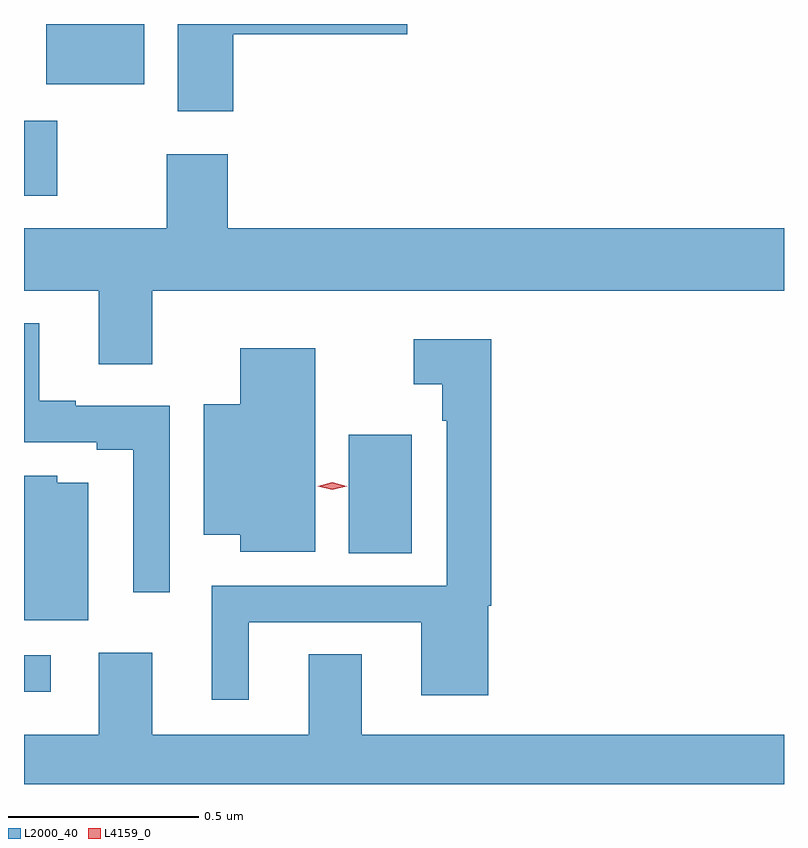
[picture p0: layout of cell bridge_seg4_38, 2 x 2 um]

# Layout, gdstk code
import gdstk
lib = gdstk.Library(unit=1e-6, precision=1e-09)
def R(c, l, rs):  # rectangles x0, y0, x1, y1
    for r in rs: c.add(gdstk.rectangle(r[:2], r[2:], *l))
def P(c, l, *ps):  # polygons
    for p in ps: c.add(gdstk.Polygon(p, *l))
L2000_40 = (2000, 40)
L4159_0 = (4159, 0)

bridge_seg4_38 = lib.new_cell('bridge_seg4_38')
R(bridge_seg4_38, L2000_40, [(682.65,750.477,682.72,750.573), (683.504,750.841,683.671,751.153), (682.65,751.782,682.737,751.98), (682.709,752.075,682.966,752.234)])
P(bridge_seg4_38, L2000_40, [(683.201,752.207),(683.659,752.207),(683.659,752.234),(683.054,752.234),(683.054,752.004),(683.201,752.004)],
  [(682.987,751.532),(684.65,751.532),(684.65,751.696),(683.186,751.696),(683.186,751.891),(683.026,751.891),(683.026,751.696),(682.65,751.696),(682.65,751.532),(682.847,751.532),(682.847,751.338),(682.987,751.338)],
  [(683.034,751.23),(682.786,751.23),(682.786,751.243),(682.69,751.243),(682.69,751.447),(682.65,751.447),(682.65,751.134),(682.841,751.134),(682.841,751.114),(682.938,751.114),(682.938,750.738),(683.034,750.738)],
  [(683.242,750.66),(683.696,750.66),(683.696,750.467),(683.872,750.467),(683.872,750.703),(683.879,750.703),(683.879,751.405),(683.676,751.405),(683.676,751.286),(683.751,751.286),(683.751,751.19),(683.763,751.19),(683.763,750.756),(683.144,750.756),(683.144,750.456),(683.242,750.456)],
  [(683.416,751.381),(683.219,751.381),(683.219,751.234),(683.123,751.234),(683.123,750.89),(683.219,750.89),(683.219,750.845),(683.416,750.845)],
  [(682.819,751.027),(682.737,751.027),(682.737,751.045),(682.65,751.045),(682.65,750.665),(682.819,750.665)],
  [(684.65,750.364),(683.539,750.364),(683.539,750.575),(683.399,750.575),(683.399,750.364),(682.987,750.364),(682.987,750.58),(682.847,750.58),(682.847,750.364),(682.65,750.364),(682.65,750.234),(684.65,750.234)])
P(bridge_seg4_38, L4159_0, [(683.461,751.008),(683.423,751.018),(683.423,751.018),(683.423,751.018),(683.461,751.028),(683.499,751.018),(683.5,751.018),(683.499,751.018)])

lib.write_gds('bridge_seg4_38.gds')
